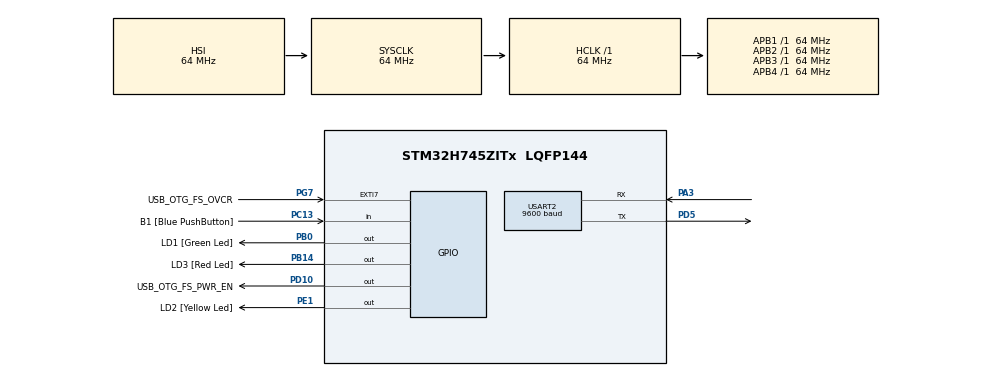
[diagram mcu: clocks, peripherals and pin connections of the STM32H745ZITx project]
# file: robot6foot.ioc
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CortexM4.IPs=FATFS_M4\:I,FREERTOS_M4\:I,IWDG2\:I,RCC,WWDG2\:I,DMA,BDMA,MDMA,NVIC2\:I,USART3,ETH,DEBUG,PDM2PCM_M4\:I,PWR,RESMGR_UTILITY,SYS_M4\:I,USB_DEVICE_M4\:I,USB_HOST_M4\:I,CORTEX_M4\:I,OPENAMP_M4\:I,VREFBUF
CortexM7.IPs=FATFS_M7\:I,FREERTOS_M7\:I,IWDG1\:I,RCC\:I,WWDG1\:I,DMA\:I,BDMA\:I,MDMA\:I,NVIC1\:I,SYS\:I,USART3\:I,USB_OTG_FS\:I,ETH\:I,CORTEX_M7\:I,DEBUG\:I,PDM2PCM_M7\:I,PWR\:I,RESMGR_UTILITY\:I,USB_DEVICE_M7\:I,USB_HOST_M7\:I,OPENAMP_M7\:I,VREFBUF\:I,USART2\:I
Mcu.Family=STM32H7
Mcu.Name=STM32H745ZITx
Mcu.Package=LQFP144
NVIC1.PriorityGroup=NVIC_PRIORITYGROUP_4
NVIC2.PriorityGroup=NVIC_PRIORITYGROUP_4
PA1.PinAttribute=CortexM7
PA1.Signal=ETH_REF_CLK
PA11.PinAttribute=CortexM7
PA11.Signal=USB_OTG_FS_DM
PA12.PinAttribute=CortexM7
PA12.Signal=USB_OTG_FS_DP
PA2.PinAttribute=CortexM7
PA2.Signal=ETH_MDIO
PA3.Mode=Asynchronous
PA3.PinAttribute=CortexM7
PA3.Signal=USART2_RX
PA7.PinAttribute=CortexM7
PA7.Signal=ETH_CRS_DV
PA8.PinAttribute=CortexM7
PA8.Signal=USB_OTG_FS_SOF
PA9.PinAttribute=CortexM7
PA9.Signal=USB_OTG_FS_VBUS
PB0.GPIO_Label=LD1 [Green Led]
PB0.PinAttribute=Free
PB0.Signal=GPIO_Output
PB13.PinAttribute=CortexM7
PB13.Signal=ETH_TXD1
PB14.GPIO_Label=LD3 [Red Led]
PB14.PinAttribute=Free
PB14.Signal=GPIO_Output
PC1.PinAttribute=CortexM7
PC1.Signal=ETH_MDC
PC13.GPIO_Label=B1 [Blue PushButton]
PC13.PinAttribute=Free
PC13.Signal=GPIO_Input
PC14-OSC32_IN\ (OSC32_IN).PinAttribute=CortexM7
PC14-OSC32_IN\ (OSC32_IN).Signal=RCC_OSC32_IN
PC15-OSC32_OUT\ (OSC32_OUT).PinAttribute=CortexM7
PC15-OSC32_OUT\ (OSC32_OUT).Signal=RCC_OSC32_OUT
PC4.PinAttribute=CortexM7
PC4.Signal=ETH_RXD0
PC5.PinAttribute=CortexM7
PC5.Signal=ETH_RXD1
PD10.GPIO_Label=USB_OTG_FS_PWR_EN
PD10.PinAttribute=Free
PD10.Signal=GPIO_Output
PD5.Mode=Asynchronous
PD5.PinAttribute=CortexM7
PD5.Signal=USART2_TX
PD8.GPIO_Label=STLINK_RX
PD8.PinAttribute=CortexM7
PD8.Signal=USART3_TX
PD9.GPIO_Label=STLINK_TX
PD9.PinAttribute=CortexM7
PD9.Signal=USART3_RX
PE1.GPIO_Label=LD2 [Yellow Led]
PE1.PinAttribute=Free
PE1.Signal=GPIO_Output
PG11.PinAttribute=CortexM7
PG11.Signal=ETH_TX_EN
PG13.PinAttribute=CortexM7
PG13.Signal=ETH_TXD0
PG7.GPIO_Label=USB_OTG_FS_OVCR
PG7.PinAttribute=Free
PG7.Signal=GPXTI7
PH0-OSC_IN\ (PH0).PinAttribute=CortexM7
PH0-OSC_IN\ (PH0).Signal=RCC_OSC_IN
PH1-OSC_OUT\ (PH1).PinAttribute=CortexM7
PH1-OSC_OUT\ (PH1).Signal=RCC_OSC_OUT
ProjectManager.HeapSize=0x200
ProjectManager.StackSize=0x400
ProjectManager.TargetToolchain=STM32CubeIDE
RCC.ADCFreq_Value=129000000
RCC.APB1Freq_Value=64000000
RCC.APB2Freq_Value=64000000
RCC.APB3Freq_Value=64000000
RCC.APB4Freq_Value=64000000
RCC.CortexFreq_Value=64000000
RCC.DIVM1=18
RCC.DIVM3=22
RCC.DIVN3=169
RCC.DIVQ3=4
RCC.HCLKFreq_Value=64000000
RCC.PLL2FRACN=0
RCC.PLL3FRACN=0
RCC.PLLFRACN=0
RCC.SYSCLKFreq_VALUE=64000000
RCC.SupplySource=PWR_DIRECT_SMPS_SUPPLY
RCC.USBCLockSelection=RCC_USBCLKSOURCE_PLL3
RCC.USBFreq_Value=122909090.9090909
USART2.BaudRate=9600
USART2.VirtualMode-Asynchronous=VM_ASYNC
VP_SYS_M4_VS_Systick.Mode=SysTick
board=NUCLEO-H745ZI-Q

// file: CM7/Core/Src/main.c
/* USER CODE BEGIN Header */
/**
 ******************************************************************************
 * @file           : main.c
 * @brief          : Main program body
 ******************************************************************************
 * @attention
 *
 * <h2><center>&copy; Copyright (c) 2021 STMicroelectronics.
 * All rights reserved.</center></h2>
 *
 * This software component is licensed by ST under BSD 3-Clause license,
 * the "License"; You may not use this file except in compliance with the
 * License. You may obtain a copy of the License at:
 *                        opensource.org/licenses/BSD-3-Clause
 *
 ******************************************************************************
 */
/* USER CODE END Header */
#include "main.h"

/* USER CODE BEGIN Includes */
#include "ServoControl_18.h"
#include <stdlib.h>
/* USER CODE END Includes */

/* USER CODE BEGIN PD */

#ifndef HSEM_ID_0
#define HSEM_ID_0 (0U) /* HW semaphore 0*/
#endif
/* USER CODE END PD */

UART_HandleTypeDef huart2;

void SystemClock_Config(void);
static void MX_GPIO_Init(void);
static void MX_USART2_UART_Init(void);

/* USER CODE BEGIN 0 */
int robotWaveHands(UART_HandleTypeDef *huart)
{
    uint32_t servo_amount = 18;
    uint32_t servo_list[18] = {1, 2, 3, 4, 5, 6, 7, 8, 9, 10, 11, 12, 13, 14, 15, 16, 17, 18};

    // uint32_t servo_pwm_list_1[6] = {1500,500,1500,1501,2500,1500}; // hands up
    uint32_t servo_pwm_list_2[18] = {1500, 1000, 500,  500,  500,  2000, 1500, 1000, 500,
                                     1500, 2000, 2500, 2500, 2500, 1000, 1400, 2000, 2500}; // hands forward
    uint32_t servo_pwm_list_3[18] = {1500, 1000, 500,  500,  800,  2300, 1500, 1000, 500,
                                     1500, 2000, 2500, 2500, 2200, 700,  1400, 2000, 2500}; // hands wave
    // uint32_t servo_pwm_list_4[18] = {1500, 1000, 500,  1200, 500,  1500, 1500, 1000, 500,
    //                                  1500, 2000, 2500, 1700, 2500, 1500, 1400, 2000, 2500};
    // uint32_t servo_pwm_list_5[6] = {1500,1100, 650,1501,1900,2350};
    // uint32_t servo_pwm_list_6[6] = {1500,1100, 650,1501,2300,2250};

    // robot_control_cmd(huart,servo_amount,300,servo_list,servo_pwm_list_1);
    robot_control_cmd(huart, servo_amount, 300, servo_list, servo_pwm_list_2);
    robot_control_cmd(huart, servo_amount, 300, servo_list, servo_pwm_list_3);
    // robot_control_cmd(huart, servo_amount, 300, servo_list, servo_pwm_list_4);
    // robot_control_cmd(huart,servo_amount,300,servo_list,servo_pwm_list_5);
    // robot_control_cmd(huart,servo_amount,300,servo_list,servo_pwm_list_6);
    return 1;
}
/* USER CODE END 0 */

int main(void)
{
    /* USER CODE BEGIN Boot_Mode_Sequence_0 */
    int32_t timeout;
    /* USER CODE END Boot_Mode_Sequence_0 */

    /* USER CODE BEGIN Boot_Mode_Sequence_1 */
    /* Wait until CPU2 boots and enters in stop mode or timeout*/
    timeout = 0xFFFF;
    while ((__HAL_RCC_GET_FLAG(RCC_FLAG_D2CKRDY) != RESET) && (timeout-- > 0))
        ;
    if (timeout < 0) {
        Error_Handler();
    }
    /* USER CODE END Boot_Mode_Sequence_1 */
    /* MCU Configuration--------------------------------------------------------*/

    /* Reset of all peripherals, Initializes the Flash interface and the Systick. */
    HAL_Init();

    /* Configure the system clock */
    SystemClock_Config();
    /* USER CODE BEGIN Boot_Mode_Sequence_2 */
    /* When system initialization is finished, Cortex-M7 will release Cortex-M4 by means of
    HSEM notification */
    /*HW semaphore Clock enable*/
    __HAL_RCC_HSEM_CLK_ENABLE();
    /*Take HSEM */
    HAL_HSEM_FastTake(HSEM_ID_0);
    /*Release HSEM in order to notify the CPU2(CM4)*/
    HAL_HSEM_Release(HSEM_ID_0, 0);
    /* wait until CPU2 wakes up from stop mode */
    timeout = 0xFFFF;
    while ((__HAL_RCC_GET_FLAG(RCC_FLAG_D2CKRDY) == RESET) && (timeout-- > 0))
        ;
    if (timeout < 0) {
        Error_Handler();
    }
    /* USER CODE END Boot_Mode_Sequence_2 */

    /* Initialize all configured peripherals */
    MX_GPIO_Init();
    MX_USART2_UART_Init();
    /* USER CODE BEGIN 2 */
    robotInit(&huart2, 2000);
    uint32_t i;

    /* USER CODE END 2 */

    /* Infinite loop */
    while (1) {

        /* USER CODE BEGIN 3 */
        // for (i = 0; i < 5; i++)
        //     robotForward(&huart2);

        // for (i = 0; i < 5; i++)
        //     robotBackward(&huart2);

        // for (i = 0; i < 5; i++)
        //     robotTurnLeft(&huart2);

        // for (i = 0; i < 5; i++)
        //     robotTurnRight(&huart2);

        // for (i = 0; i < 2; i++)
        //     robotTransverseLeft(&huart2);

        // for (i = 0; i < 2; i++)
        //     robotTransverseRight(&huart2);

        for (i = 0; i < 5; i++)
            robotWaveHands(&huart2);
    }
    /* USER CODE END 3 */
}

void SystemClock_Config(void)
{
    RCC_OscInitTypeDef RCC_OscInitStruct = {0};
    RCC_ClkInitTypeDef RCC_ClkInitStruct = {0};
    RCC_PeriphCLKInitTypeDef PeriphClkInitStruct = {0};

    /** Supply configuration update enable
     */
    HAL_PWREx_ConfigSupply(PWR_DIRECT_SMPS_SUPPLY);
    /** Configure the main internal regulator output voltage
     */
    __HAL_PWR_VOLTAGESCALING_CONFIG(PWR_REGULATOR_VOLTAGE_SCALE3);

    while (!__HAL_PWR_GET_FLAG(PWR_FLAG_VOSRDY)) {
    }
    /** Initializes the RCC Oscillators according to the specified parameters
     * in the RCC_OscInitTypeDef structure.
     */
    RCC_OscInitStruct.OscillatorType = RCC_OSCILLATORTYPE_HSI;
    RCC_OscInitStruct.HSIState = RCC_HSI_DIV1;
    RCC_OscInitStruct.HSICalibrationValue = RCC_HSICALIBRATION_DEFAULT;
    RCC_OscInitStruct.PLL.PLLState = RCC_PLL_NONE;
    if (HAL_RCC_OscConfig(&RCC_OscInitStruct) != HAL_OK) {
        Error_Handler();
    }
    /** Initializes the CPU, AHB and APB buses clocks
     */
    RCC_ClkInitStruct.ClockType = RCC_CLOCKTYPE_HCLK | RCC_CLOCKTYPE_SYSCLK | RCC_CLOCKTYPE_PCLK1 |
                                  RCC_CLOCKTYPE_PCLK2 | RCC_CLOCKTYPE_D3PCLK1 | RCC_CLOCKTYPE_D1PCLK1;
    RCC_ClkInitStruct.SYSCLKSource = RCC_SYSCLKSOURCE_HSI;
    RCC_ClkInitStruct.SYSCLKDivider = RCC_SYSCLK_DIV1;
    RCC_ClkInitStruct.AHBCLKDivider = RCC_HCLK_DIV1;
    RCC_ClkInitStruct.APB3CLKDivider = RCC_APB3_DIV1;
    RCC_ClkInitStruct.APB1CLKDivider = RCC_APB1_DIV1;
    RCC_ClkInitStruct.APB2CLKDivider = RCC_APB2_DIV1;
    RCC_ClkInitStruct.APB4CLKDivider = RCC_APB4_DIV1;

    if (HAL_RCC_ClockConfig(&RCC_ClkInitStruct, FLASH_LATENCY_0) != HAL_OK) {
        Error_Handler();
    }
    PeriphClkInitStruct.PeriphClockSelection = RCC_PERIPHCLK_USART2;
    PeriphClkInitStruct.Usart234578ClockSelection = RCC_USART234578CLKSOURCE_D2PCLK1;
    if (HAL_RCCEx_PeriphCLKConfig(&PeriphClkInitStruct) != HAL_OK) {
        Error_Handler();
    }
}

static void MX_USART2_UART_Init(void)
{

    huart2.Instance = USART2;
    huart2.Init.BaudRate = 9600;
    huart2.Init.WordLength = UART_WORDLENGTH_8B;
    huart2.Init.StopBits = UART_STOPBITS_1;
    huart2.Init.Parity = UART_PARITY_NONE;
    huart2.Init.Mode = UART_MODE_TX_RX;
    huart2.Init.HwFlowCtl = UART_HWCONTROL_NONE;
    huart2.Init.OverSampling = UART_OVERSAMPLING_16;
    huart2.Init.OneBitSampling = UART_ONE_BIT_SAMPLE_DISABLE;
    huart2.Init.ClockPrescaler = UART_PRESCALER_DIV1;
    huart2.AdvancedInit.AdvFeatureInit = UART_ADVFEATURE_NO_INIT;
    if (HAL_UART_Init(&huart2) != HAL_OK) {
        Error_Handler();
    }
    if (HAL_UARTEx_SetTxFifoThreshold(&huart2, UART_TXFIFO_THRESHOLD_1_8) != HAL_OK) {
        Error_Handler();
    }
    if (HAL_UARTEx_SetRxFifoThreshold(&huart2, UART_RXFIFO_THRESHOLD_1_8) != HAL_OK) {
        Error_Handler();
    }
    if (HAL_UARTEx_DisableFifoMode(&huart2) != HAL_OK) {
        Error_Handler();
    }
}

static void MX_GPIO_Init(void)
{
    GPIO_InitTypeDef GPIO_InitStruct = {0};

    /* GPIO Ports Clock Enable */
    __HAL_RCC_GPIOC_CLK_ENABLE();
    __HAL_RCC_GPIOH_CLK_ENABLE();
    __HAL_RCC_GPIOA_CLK_ENABLE();
    __HAL_RCC_GPIOB_CLK_ENABLE();
    __HAL_RCC_GPIOD_CLK_ENABLE();
    __HAL_RCC_GPIOG_CLK_ENABLE();

    /*Configure GPIO pins : PC1 PC4 PC5 */
    GPIO_InitStruct.Pin = GPIO_PIN_1 | GPIO_PIN_4 | GPIO_PIN_5;
    GPIO_InitStruct.Mode = GPIO_MODE_AF_PP;
    GPIO_InitStruct.Pull = GPIO_NOPULL;
    GPIO_InitStruct.Speed = GPIO_SPEED_FREQ_LOW;
    GPIO_InitStruct.Alternate = GPIO_AF11_ETH;
    HAL_GPIO_Init(GPIOC, &GPIO_InitStruct);

    /*Configure GPIO pins : PA1 PA2 PA7 */
    GPIO_InitStruct.Pin = GPIO_PIN_1 | GPIO_PIN_2 | GPIO_PIN_7;
    GPIO_InitStruct.Mode = GPIO_MODE_AF_PP;
    GPIO_InitStruct.Pull = GPIO_NOPULL;
    GPIO_InitStruct.Speed = GPIO_SPEED_FREQ_LOW;
    GPIO_InitStruct.Alternate = GPIO_AF11_ETH;
    HAL_GPIO_Init(GPIOA, &GPIO_InitStruct);

    /*Configure GPIO pin : PB13 */
    GPIO_InitStruct.Pin = GPIO_PIN_13;
    GPIO_InitStruct.Mode = GPIO_MODE_AF_PP;
    GPIO_InitStruct.Pull = GPIO_NOPULL;
    GPIO_InitStruct.Speed = GPIO_SPEED_FREQ_LOW;
    GPIO_InitStruct.Alternate = GPIO_AF11_ETH;
    HAL_GPIO_Init(GPIOB, &GPIO_InitStruct);

    /*Configure GPIO pins : PD8 PD9 */
    GPIO_InitStruct.Pin = GPIO_PIN_8 | GPIO_PIN_9;
    GPIO_InitStruct.Mode = GPIO_MODE_AF_PP;
    GPIO_InitStruct.Pull = GPIO_NOPULL;
    GPIO_InitStruct.Speed = GPIO_SPEED_FREQ_LOW;
    GPIO_InitStruct.Alternate = GPIO_AF7_USART3;
    HAL_GPIO_Init(GPIOD, &GPIO_InitStruct);

    /*Configure GPIO pins : PA8 PA11 PA12 */
    GPIO_InitStruct.Pin = GPIO_PIN_8 | GPIO_PIN_11 | GPIO_PIN_12;
    GPIO_InitStruct.Mode = GPIO_MODE_AF_PP;
    GPIO_InitStruct.Pull = GPIO_NOPULL;
    GPIO_InitStruct.Speed = GPIO_SPEED_FREQ_LOW;
    GPIO_InitStruct.Alternate = GPIO_AF10_OTG1_FS;
    HAL_GPIO_Init(GPIOA, &GPIO_InitStruct);

    /*Configure GPIO pins : PG11 PG13 */
    GPIO_InitStruct.Pin = GPIO_PIN_11 | GPIO_PIN_13;
    GPIO_InitStruct.Mode = GPIO_MODE_AF_PP;
    GPIO_InitStruct.Pull = GPIO_NOPULL;
    GPIO_InitStruct.Speed = GPIO_SPEED_FREQ_LOW;
    GPIO_InitStruct.Alternate = GPIO_AF11_ETH;
    HAL_GPIO_Init(GPIOG, &GPIO_InitStruct);
}

void Error_Handler(void)
{
    __disable_irq();
    while (1) {
    }
}

/************************ (C) COPYRIGHT STMicroelectronics *****END OF FILE****/
